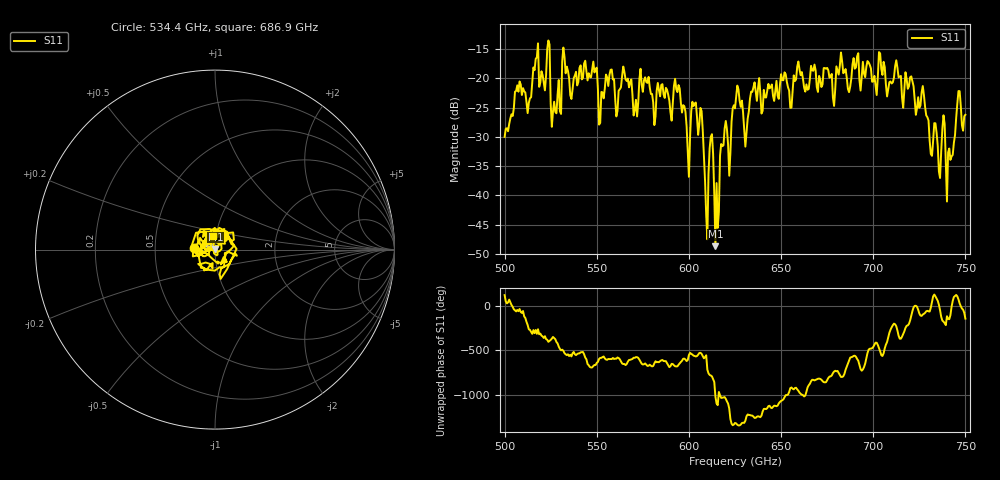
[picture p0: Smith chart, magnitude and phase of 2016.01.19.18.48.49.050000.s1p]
!Created with skrf (http://scikit-rf.org).
# GHz S RI R 50.0
!freq ReS11 ImS11
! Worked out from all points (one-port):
!   401 points, 500 GHz to 750 GHz, reference 50 ohm
!   lowest |S11| = -48.7 dB at 614.4 GHz (marker M1), VSWR 1.01, Z = 50.2 + j0.317 ohm
!   |S11| at or under -10 dB: start of sweep to end of sweep
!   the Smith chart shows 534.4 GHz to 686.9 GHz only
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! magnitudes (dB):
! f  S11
! 500 GHz  -30.0
! 506.9 GHz  -21.2
! 513.1 GHz  -24.2
! 516.9 GHz  -16.7
! 523.8 GHz  -13.5
! 526.9 GHz  -24.0
! 531.2 GHz  -17.1
! 562.5 GHz  -21.9
! 593.8 GHz  -22.3
! 599.4 GHz  -32.6
! 602.5 GHz  -24.7
! 606.2 GHz  -25.1
! 609.4 GHz  -43.4
! 611.9 GHz  -30.0
! 614.4 GHz  -48.7
! 615.6 GHz  -45.6
! 618.8 GHz  -31.4
! 621.9 GHz  -36.6
! 625 GHz  -25.1
! 631.2 GHz  -29.2
! 635 GHz  -21.5
! 656.2 GHz  -22.3
! 660 GHz  -18.5
! 687.5 GHz  -21.4
! 718.8 GHz  -21.8
! 740.6 GHz  -32.6
! 746.2 GHz  -22.2
! 750 GHz  -26.2
